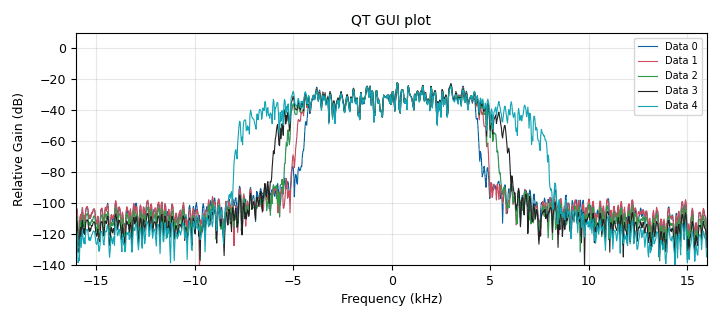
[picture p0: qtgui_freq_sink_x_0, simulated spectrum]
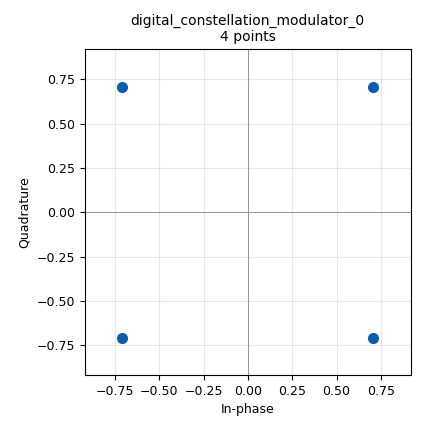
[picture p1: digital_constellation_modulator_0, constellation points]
options:
  parameters:
    author: henning
    generate_options: qt_gui
    id: opt
    output_language: python
    title: mpsk_rrc_rolloff
  states: {}

blocks:
- name: arity
  id: variable
  parameters:
    value: '4'
  states: {}
- name: excess_bw
  id: variable
  parameters:
    value: '0.350'
  states: {}
- name: qpsk_const
  id: variable_constellation_rect
  parameters:
    const_points: '[-1-1j, -1+1j, 1+1j, 1-1j]'
    imag_sect: '2'
    real_sect: '2'
    rot_sym: '4'
    sym_map: '[0, 1, 3, 2]'
    w_imag_sect: '1'
    w_real_sect: '1'
  states: {}
- name: samp_rate
  id: variable
  parameters:
    value: '32000'
  states: {}
- name: sps
  id: variable
  parameters:
    value: '4'
  states: {}
- name: analog_random_source_x_0
  id: analog_random_source_x
  parameters:
    max: '255'
    min: '0'
    num_samps: '1000'
    repeat: 'True'
    type: byte
  states: {}
- name: blocks_throttle_0
  id: blocks_throttle
  parameters:
    samples_per_second: samp_rate
    type: complex
  states: {}
- name: digital_constellation_modulator_0
  id: digital_constellation_modulator
  parameters:
    constellation: qpsk_const
    differential: 'True'
    excess_bw: '0.1'
    samples_per_symbol: sps
  states: {}
- name: digital_constellation_modulator_1
  id: digital_constellation_modulator
  parameters:
    constellation: qpsk_const
    differential: 'True'
    excess_bw: '0.5'
    samples_per_symbol: sps
  states: {}
- name: digital_constellation_modulator_2
  id: digital_constellation_modulator
  parameters:
    constellation: qpsk_const
    differential: 'True'
    excess_bw: excess_bw
    samples_per_symbol: sps
  states: {}
- name: digital_constellation_modulator_3
  id: digital_constellation_modulator
  parameters:
    constellation: qpsk_const
    differential: 'True'
    excess_bw: '0.220'
    samples_per_symbol: sps
  states: {}
- name: digital_constellation_modulator_4
  id: digital_constellation_modulator
  parameters:
    constellation: qpsk_const
    differential: 'True'
    excess_bw: '1'
    samples_per_symbol: sps
  states: {}
- name: qtgui_freq_sink_x_0
  id: qtgui_freq_sink_x
  parameters:
    bw: samp_rate
    fc: '0'
    fftsize: '1024'
    name: QT GUI plot
    nconnections: '5'
    type: complex
    wintype: firdes.WIN_BLACKMAN_hARRIS
  states: {}

connections:
- [analog_random_source_x_0, '0', digital_constellation_modulator_0, '0']
- [analog_random_source_x_0, '0', digital_constellation_modulator_1, '0']
- [analog_random_source_x_0, '0', digital_constellation_modulator_2, '0']
- [analog_random_source_x_0, '0', digital_constellation_modulator_3, '0']
- [analog_random_source_x_0, '0', digital_constellation_modulator_4, '0']
- [blocks_throttle_0, '0', qtgui_freq_sink_x_0, '0']
- [digital_constellation_modulator_0, '0', blocks_throttle_0, '0']
- [digital_constellation_modulator_1, '0', qtgui_freq_sink_x_0, '3']
- [digital_constellation_modulator_2, '0', qtgui_freq_sink_x_0, '2']
- [digital_constellation_modulator_3, '0', qtgui_freq_sink_x_0, '1']
- [digital_constellation_modulator_4, '0', qtgui_freq_sink_x_0, '4']

metadata:
  file_format: 1
